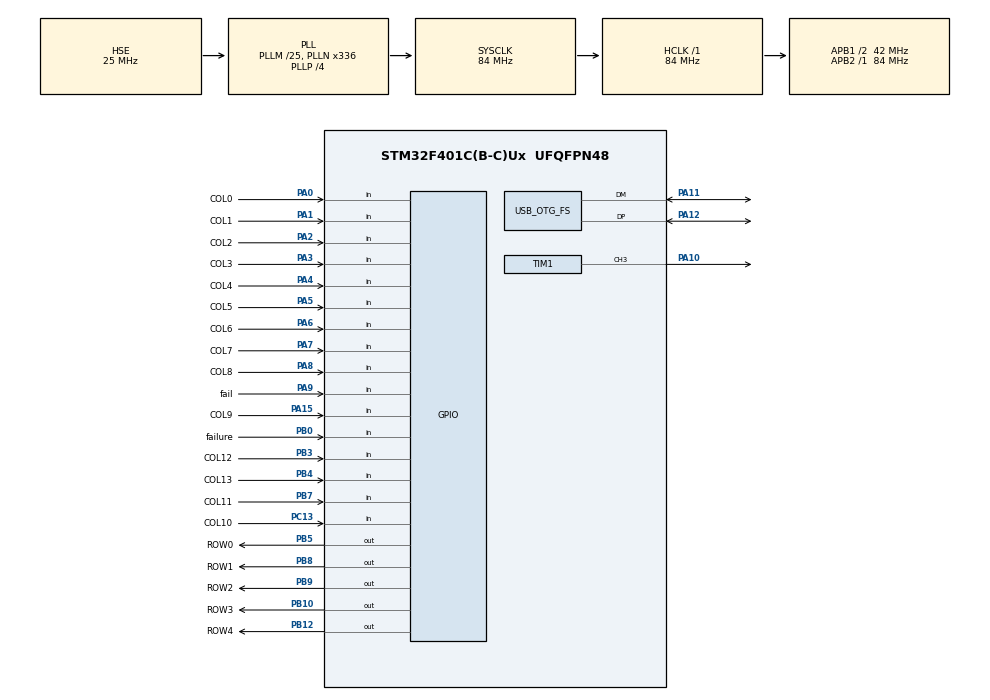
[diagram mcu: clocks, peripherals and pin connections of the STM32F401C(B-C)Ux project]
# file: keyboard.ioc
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Dma.Request0=TIM1_CH3
Dma.TIM1_CH3.0.Direction=DMA_MEMORY_TO_PERIPH
Dma.TIM1_CH3.0.FIFOMode=DMA_FIFOMODE_DISABLE
Dma.TIM1_CH3.0.Instance=DMA2_Stream6
Dma.TIM1_CH3.0.MemDataAlignment=DMA_MDATAALIGN_HALFWORD
Dma.TIM1_CH3.0.MemInc=DMA_MINC_ENABLE
Dma.TIM1_CH3.0.Mode=DMA_CIRCULAR
Dma.TIM1_CH3.0.PeriphDataAlignment=DMA_PDATAALIGN_HALFWORD
Dma.TIM1_CH3.0.PeriphInc=DMA_PINC_DISABLE
Dma.TIM1_CH3.0.Priority=DMA_PRIORITY_LOW
Mcu.Family=STM32F4
Mcu.Name=STM32F401C(B-C)Ux
Mcu.Package=UFQFPN48
NVIC.DMA2_Stream6_IRQn=true\:0\:0\:false\:false\:true\:false\:true\:true
NVIC.OTG_FS_IRQn=true\:0\:0\:false\:false\:true\:false\:true\:true
NVIC.PriorityGroup=NVIC_PRIORITYGROUP_4
PA0-WKUP.GPIO_Label=COL0
PA0-WKUP.GPIO_PuPd=GPIO_PULLUP
PA0-WKUP.Signal=GPIO_Input
PA1.GPIO_Label=COL1
PA1.GPIO_PuPd=GPIO_PULLUP
PA1.Signal=GPIO_Input
PA10.Signal=S_TIM1_CH3
PA11.Mode=Device_Only
PA11.Signal=USB_OTG_FS_DM
PA12.Mode=Device_Only
PA12.Signal=USB_OTG_FS_DP
PA13.Mode=Serial_Wire
PA13.Signal=SYS_JTMS-SWDIO
PA14.Mode=Serial_Wire
PA14.Signal=SYS_JTCK-SWCLK
PA15.GPIO_Label=COL9
PA15.GPIO_PuPd=GPIO_PULLUP
PA15.Signal=GPIO_Input
PA2.GPIO_Label=COL2
PA2.GPIO_PuPd=GPIO_PULLUP
PA2.Signal=GPIO_Input
PA3.GPIO_Label=COL3
PA3.GPIO_PuPd=GPIO_PULLUP
PA3.Signal=GPIO_Input
PA4.GPIO_Label=COL4
PA4.GPIO_PuPd=GPIO_PULLUP
PA4.Signal=GPIO_Input
PA5.GPIO_Label=COL5
PA5.GPIO_PuPd=GPIO_PULLUP
PA5.Signal=GPIO_Input
PA6.GPIO_Label=COL6
PA6.GPIO_PuPd=GPIO_PULLUP
PA6.Signal=GPIO_Input
PA7.GPIO_Label=COL7
PA7.GPIO_PuPd=GPIO_PULLUP
PA7.Signal=GPIO_Input
PA8.GPIO_Label=COL8
PA8.GPIO_PuPd=GPIO_PULLUP
PA8.Signal=GPIO_Input
PA9.GPIO_Label=fail
PA9.GPIO_PuPd=GPIO_PULLUP
PA9.Signal=GPIO_Input
PB0.GPIO_Label=failure
PB0.GPIO_PuPd=GPIO_PULLUP
PB0.Signal=GPIO_Input
PB10.GPIO_Label=ROW3
PB10.Signal=GPIO_Output
PB12.GPIO_Label=ROW4
PB12.Signal=GPIO_Output
PB3.GPIO_Label=COL12
PB3.GPIO_PuPd=GPIO_PULLUP
PB3.Signal=GPIO_Input
PB4.GPIO_Label=COL13
PB4.GPIO_PuPd=GPIO_PULLUP
PB4.Signal=GPIO_Input
PB5.GPIO_Label=ROW0
PB5.Signal=GPIO_Output
PB7.GPIO_Label=COL11
PB7.GPIO_PuPd=GPIO_PULLUP
PB7.Signal=GPIO_Input
PB8.GPIO_Label=ROW1
PB8.Signal=GPIO_Output
PB9.GPIO_Label=ROW2
PB9.Signal=GPIO_Output
PC13-ANTI_TAMP.GPIO_Label=COL10
PC13-ANTI_TAMP.GPIO_PuPd=GPIO_PULLUP
PC13-ANTI_TAMP.Signal=GPIO_Input
PH0\ -\ OSC_IN.Mode=HSE-External-Oscillator
PH0\ -\ OSC_IN.Signal=RCC_OSC_IN
PH1\ -\ OSC_OUT.Mode=HSE-External-Oscillator
PH1\ -\ OSC_OUT.Signal=RCC_OSC_OUT
ProjectManager.HeapSize=0x200
ProjectManager.StackSize=0x400
ProjectManager.TargetToolchain=MDK-ARM V5.32
RCC.48MHZClocksFreq_Value=48000000
RCC.AHBFreq_Value=84000000
RCC.APB1CLKDivider=RCC_HCLK_DIV2
RCC.APB1Freq_Value=42000000
RCC.APB1TimFreq_Value=84000000
RCC.APB2Freq_Value=84000000
RCC.APB2TimFreq_Value=84000000
RCC.CortexFreq_Value=84000000
RCC.HCLKFreq_Value=84000000
RCC.HSE_VALUE=25000000
RCC.HSI_VALUE=16000000
RCC.LSE_VALUE=32768
RCC.PLLM=25
RCC.PLLN=336
RCC.PLLP=RCC_PLLP_DIV4
RCC.PLLQ=7
RCC.SYSCLKFreq_VALUE=84000000
RCC.SYSCLKSource=RCC_SYSCLKSOURCE_PLLCLK
RCC.VCOOutputFreq_Value=336000000
SH.S_TIM1_CH3.0=TIM1_CH3,PWM Generation3 CH3
TIM1.Channel-PWM\ Generation3\ CH3=TIM_CHANNEL_3
TIM1.Period=104
TIM1.Pulse-PWM\ Generation3\ CH3=69
USB_DEVICE.CLASS_NAME_FS=HID
USB_DEVICE.MANUFACTURER_STRING=single
USB_DEVICE.PID_HID_FS=14159
USB_DEVICE.VID=1415
USB_DEVICE.VirtualMode=Hid
USB_DEVICE.VirtualModeFS=Hid_FS
USB_OTG_FS.VirtualMode=Device_Only
VP_TIM1_VS_ClockSourceINT.Mode=Internal
VP_USB_DEVICE_VS_USB_DEVICE_HID_FS.Mode=HID_FS
board=custom

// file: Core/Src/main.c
/* USER CODE BEGIN Header */
/**
 ******************************************************************************
 * @file           : main.i
 * @brief          : Main program body
 ******************************************************************************
 * @attention
 *
 * Copyright (i) 2022 STMicroelectronics.
 * All rights reserved.
 *
 * This software is licensed under terms that can be found in the LICENSE file
 * in the root directory of this software component.
 * If no LICENSE file comes with this software, it is provided AS-IS.
 *
 ******************************************************************************
 */
/* USER CODE END Header */
#include "main.h"
#include "dma.h"
#include "tim.h"
#include "usb_device.h"
#include "gpio.h"

/* USER CODE BEGIN Includes */
#include "usbd_hid.h"
#include "Scan.h"
#include "ws2812.h"
/* USER CODE END Includes */

/* USER CODE BEGIN PV */
int mark = 1;

/* USER CODE END PV */

void SystemClock_Config(void);

int main(void)
{

  /* MCU Configuration--------------------------------------------------------*/

  /* Reset of all peripherals, Initializes the Flash interface and the Systick. */
  HAL_Init();

  /* Configure the system clock */
  SystemClock_Config();

  /* Initialize all configured peripherals */
  MX_GPIO_Init();
  MX_DMA_Init();
  MX_USB_DEVICE_Init();
  MX_TIM1_Init();
  /* USER CODE BEGIN 2 */
    uint8_t report[8] = {0};
    uint64_t key = 1;
    uint64_t last = 0;
    int blank = 0;
    int report_index = 2;
    int value[64] = {1, 1, 1, 1, 1, 1, 1, 1,
                     53, 30, 31, 32, 33, 34, 35, 36, 37, 38, 39,  45, 46, 42,
                     43, 20, 26, 8, 21, 23, 28, 24, 12, 18, 19, 47, 48, 49,
                     57, 4, 22, 7, 9, 10, 11, 13, 14, 15, 51, 52, 40, 0,
                     29, 27, 6, 25, 5, 17, 16, 54, 55, 56, 0, 0,
                     44, 41

                    };
    int index[64] = {55, 60, 53, 63, 57, 58, 42, 56,
                     0, 1, 2, 3, 4, 5, 6, 7, 8, 9, 10, 11, 12, 13,
                     14, 15, 16, 17, 18, 19, 20, 21, 22, 23, 24, 25, 26, 27,
                     28, 29, 30, 31, 32, 33, 34, 35, 36, 37, 38, 39, 40, 41,
                     43, 44, 45, 46, 47, 48, 49, 50, 51, 52, 54, 55,
                     59, 61
                    };

  /* USER CODE END 2 */

  /* Infinite loop */
  /* USER CODE BEGIN WHILE */
    while (1)
    {

        uint64_t keyboard = KeyboardScan();

        if (keyboard)
        {
            blank = 5;
            report_index = 2;
			if ((key << 62 & keyboard) >> 62)
			{

				if (!(mark%100))
				{
					ws2812_change();
				}
					mark++;
			}

            for (int i = 0; i < 8; i++)
            {
                if ((key << index[i] & keyboard) >> index[i])
                {
                    report[0] = (report[0] | (1 << (7 - i)));

                }
                else
                {
                    report[0] = report[0] & (~(1 << (7 - i)));
                }
            }

            report[1] = 0;
            report[2] = 0;
            report[3] = 0;
            report[4] = 0;
            report[5] = 0;
            report[6] = 0;
            report[7] = 0;

            for (int i = 8; i < 64; i++)
            {

                if ((key << index[i] & keyboard) >> index[i])
                {
                    report[report_index] = value[i];
                    report_index++;
                }

                if (report_index >= 7)
                {
                    break;
                }
            }

            USBD_HID_SendReport(&hUsbDeviceFS, report, 8);

        }
        else
        {
			mark = 1;

            if (blank)
            {
                report[0] = 0;
                report[1] = 0;
                report[2] = 0;
                report[3] = 0;
                report[4] = 0;
                report[5] = 0;
                report[6] = 0;
                report[7] = 0;
                USBD_HID_SendReport(&hUsbDeviceFS, report, 8);
                blank--;
            }
        }

    /* USER CODE END WHILE */

    }
}

void SystemClock_Config(void)
{
  RCC_OscInitTypeDef RCC_OscInitStruct = {0};
  RCC_ClkInitTypeDef RCC_ClkInitStruct = {0};

  /** Configure the main internal regulator output voltage
  */
  __HAL_RCC_PWR_CLK_ENABLE();
  __HAL_PWR_VOLTAGESCALING_CONFIG(PWR_REGULATOR_VOLTAGE_SCALE2);

  /** Initializes the RCC Oscillators according to the specified parameters
  * in the RCC_OscInitTypeDef structure.
  */
  RCC_OscInitStruct.OscillatorType = RCC_OSCILLATORTYPE_HSE;
  RCC_OscInitStruct.HSEState = RCC_HSE_ON;
  RCC_OscInitStruct.PLL.PLLState = RCC_PLL_ON;
  RCC_OscInitStruct.PLL.PLLSource = RCC_PLLSOURCE_HSE;
  RCC_OscInitStruct.PLL.PLLM = 25;
  RCC_OscInitStruct.PLL.PLLN = 336;
  RCC_OscInitStruct.PLL.PLLP = RCC_PLLP_DIV4;
  RCC_OscInitStruct.PLL.PLLQ = 7;
  if (HAL_RCC_OscConfig(&RCC_OscInitStruct) != HAL_OK)
  {
    Error_Handler();
  }

  /** Initializes the CPU, AHB and APB buses clocks
  */
  RCC_ClkInitStruct.ClockType = RCC_CLOCKTYPE_HCLK|RCC_CLOCKTYPE_SYSCLK
                              |RCC_CLOCKTYPE_PCLK1|RCC_CLOCKTYPE_PCLK2;
  RCC_ClkInitStruct.SYSCLKSource = RCC_SYSCLKSOURCE_PLLCLK;
  RCC_ClkInitStruct.AHBCLKDivider = RCC_SYSCLK_DIV1;
  RCC_ClkInitStruct.APB1CLKDivider = RCC_HCLK_DIV2;
  RCC_ClkInitStruct.APB2CLKDivider = RCC_HCLK_DIV1;

  if (HAL_RCC_ClockConfig(&RCC_ClkInitStruct, FLASH_LATENCY_2) != HAL_OK)
  {
    Error_Handler();
  }
}

void Error_Handler(void)
{
    __disable_irq();
    while (1)
    {
    }
}
